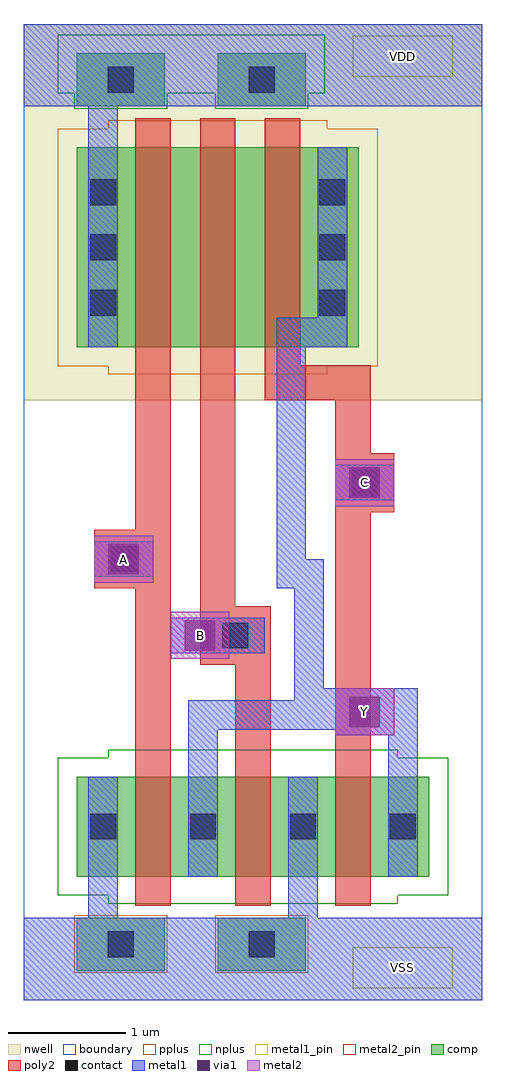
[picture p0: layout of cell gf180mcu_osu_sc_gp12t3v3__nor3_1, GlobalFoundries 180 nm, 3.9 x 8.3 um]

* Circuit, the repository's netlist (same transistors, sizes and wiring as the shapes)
* SPICE3 file created from gf180mcu_osu_sc_gp12t3v3__nor3_1_ext.ext - technology: gf180mcuD

.subckt gf180mcu_osu_sc_gp12t3v3__nor3_1 A B C VDD Y VSS
X0 Y A VSS VSS nfet_03v3 ad=0.23375p pd=1.4u as=0.425p ps=2.7u w=0.85u l=0.3u
X1 VSS B Y VSS nfet_03v3 ad=0.23375p pd=1.4u as=0.23375p ps=1.4u w=0.85u l=0.3u
X2 n330 B n220 VDD pfet_03v3 ad=0.2125p pd=1.95u as=0.2125p ps=1.95u w=1.7u l=0.3u
X3 Y C VSS VSS nfet_03v3 ad=0.425p pd=2.7u as=0.23375p ps=1.4u w=0.85u l=0.3u
X4 Y C n330 VDD pfet_03v3 ad=0.85p pd=4.4u as=0.2125p ps=1.95u w=1.7u l=0.3u
X5 n220 A VDD VDD pfet_03v3 ad=0.2125p pd=1.95u as=0.85p ps=4.4u w=1.7u l=0.3u
.ends

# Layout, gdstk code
import gdstk
lib = gdstk.Library(unit=1e-6, precision=1e-09)
def R(c, l, rs):  # rectangles x0, y0, x1, y1
    for r in rs: c.add(gdstk.rectangle(r[:2], r[2:], *l))
def A(c, l, x, y, w, h, nx, ny, dx, dy):  # array of equal rectangles
    R(c, l, [(x+i*dx, y+j*dy, x+i*dx+w, y+j*dy+h) for i in range(nx) for j in range(ny)])
boundary = (0, 0)
nwell = (21, 0)
comp = (22, 0)
poly2 = (30, 0)
pplus = (31, 0)
nplus = (32, 0)
contact = (33, 0)
metal1 = (34, 0)
metal1_pin = (34, 10)
via1 = (35, 0)
metal2 = (36, 0)
metal2_pin = (36, 10)

gf180mcu_osu_sc_gp12t3v3 = lib.new_cell('gf180mcu_osu_sc_gp12t3v3__nor3_1')
R(gf180mcu_osu_sc_gp12t3v3, boundary, [(-0.15,0,3.75,8.3)])
R(gf180mcu_osu_sc_gp12t3v3, nwell, [(-0.15,5.1,3.75,8.3)])
R(gf180mcu_osu_sc_gp12t3v3, comp, [(0.3,0.25,1.05,0.7), (1.5,0.25,2.25,0.7), (0.3,1.05,3.3,1.9), (0.3,5.55,2.7,7.25), (0.3,7.6,1.05,8.05), (1.5,7.6,2.25,8.05)])
R(gf180mcu_osu_sc_gp12t3v3, poly2, [(0.8,0.8,1.1,3.5), (1.65,0.8,1.95,2.85), (2.5,0.8,2.8,4.15), (1.35,2.85,1.95,3.35), (1.35,3.35,1.65,7.5), (0.45,3.5,1.1,4), (0.8,4,1.1,7.5), (2.5,4.15,3,4.65), (2.5,4.65,2.8,5.1), (1.9,5.1,2.8,5.4), (1.9,5.4,2.2,7.5)])
R(gf180mcu_osu_sc_gp12t3v3, pplus, [(0.28,0.23,1.07,0.72), (1.48,0.23,2.27,0.72), (0.57,5.32,2.43,5.39), (0.14,5.39,2.86,7.41), (0.57,7.41,2.43,7.48)])
R(gf180mcu_osu_sc_gp12t3v3, nplus, [(0.57,0.82,3.03,0.89), (0.14,0.89,3.46,2.06), (0.57,2.06,3.03,2.13), (0.28,7.58,1.07,7.71), (1.48,7.58,2.27,7.71), (0.14,7.71,2.41,8.21)])
A(gf180mcu_osu_sc_gp12t3v3, contact, 0.415, 1.365, 0.22, 0.22, 4, 1, 0.85, 0)
A(gf180mcu_osu_sc_gp12t3v3, contact, 0.415, 5.82, 0.22, 0.22, 1, 3, 0, 0.47)
A(gf180mcu_osu_sc_gp12t3v3, contact, 2.365, 5.82, 0.22, 0.22, 1, 3, 0, 0.47)
R(gf180mcu_osu_sc_gp12t3v3, contact, [(0.565,0.365,0.785,0.585), (1.765,0.365,1.985,0.585), (1.54,2.99,1.76,3.21), (0.59,3.64,0.81,3.86), (2.64,4.29,2.86,4.51), (0.565,7.715,0.785,7.935), (1.765,7.715,1.985,7.935)])
R(gf180mcu_osu_sc_gp12t3v3, metal1, [(-0.15,0,3.75,0.7), (0.4,0.7,0.65,1.9), (2.1,0.7,2.35,1.9), (1.25,1.05,1.5,2.3), (2.95,1.05,3.2,2.25), (2.5,2.25,3.2,2.3), (1.25,2.3,3.2,2.55), (2.15,2.55,3.2,2.65), (2.15,2.65,2.4,3.5), (1.1,2.95,1.9,3.25), (2,3.5,2.4,3.75), (0.45,3.6,0.95,3.9), (2,3.75,2.25,5.55), (2.5,4.25,3,4.55), (0.4,5.55,0.65,7.6), (2,5.55,2.6,5.8), (2.35,5.8,2.6,7.25), (-0.15,7.6,3.75,8.3)])
R(gf180mcu_osu_sc_gp12t3v3, metal1_pin, [(2.65,0.1,3.5,0.45), (2.65,7.85,3.5,8.2)])
R(gf180mcu_osu_sc_gp12t3v3, via1, [(2.62,2.32,2.88,2.58), (1.22,2.97,1.48,3.23), (0.57,3.62,0.83,3.88), (2.62,4.27,2.88,4.53)])
R(gf180mcu_osu_sc_gp12t3v3, metal2, [(2.5,2.25,3,2.65), (1.1,2.9,1.6,3.3), (0.45,3.55,0.95,3.95), (2.5,4.2,3,4.6)])
R(gf180mcu_osu_sc_gp12t3v3, metal2_pin, [(2.5,2.25,3,2.65), (1.1,2.9,1.6,3.3), (0.45,3.55,0.95,3.95), (2.5,4.2,3,4.6)])
gf180mcu_osu_sc_gp12t3v3.add(gdstk.Label('A', (0.7,3.75), layer=36, texttype=10))
gf180mcu_osu_sc_gp12t3v3.add(gdstk.Label('B', (1.35,3.1), layer=36, texttype=10))
gf180mcu_osu_sc_gp12t3v3.add(gdstk.Label('C', (2.75,4.4), layer=36, texttype=10))
gf180mcu_osu_sc_gp12t3v3.add(gdstk.Label('VDD', (3.075,8.025), layer=34, texttype=10))
gf180mcu_osu_sc_gp12t3v3.add(gdstk.Label('Y', (2.75,2.45), layer=36, texttype=10))
gf180mcu_osu_sc_gp12t3v3.add(gdstk.Label('VSS', (3.075,0.275), layer=34, texttype=10))

lib.write_gds('gf180mcu_osu_sc_gp12t3v3__nor3_1.gds')
